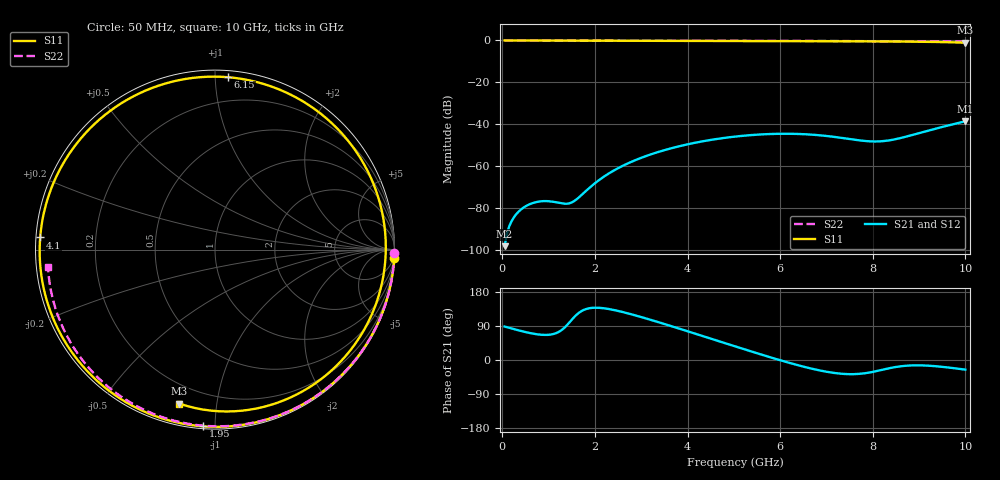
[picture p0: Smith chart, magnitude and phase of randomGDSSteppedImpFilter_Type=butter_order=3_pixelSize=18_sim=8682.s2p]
! freq	dB(S11)	phase(S11)	dB(S12)	phase(S12)
!  dB(S21)	phase(S21)	dB(S22)	phase(S22)
!S-par simulation data
#  GHz  S  DB  R 50
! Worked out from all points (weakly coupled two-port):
!   200 points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, 50 MHz to 10 GHz, reference 50 ohm
!   highest |S21| = -38.52 dB at 10 GHz (marker M1); lowest = -98.0 dB at 50 MHz (marker M2)
!   lowest |S11| = -1.1 dB at 10 GHz (marker M3), VSWR 15.76, Z = 5.17 - j39.5 ohm
!   |S11| at or under -10 dB: nowhere
!   |S22| runs from -0.6 to 0.0 dB; largest |S21 - S12| = 0
!   S11 on the Smith chart (normalised r, x): 50 MHz: 0, -45; 1.95 GHz: 0.01, -0.93; 4.1 GHz: 0.01, +0.03; 6.15 GHz: 0.04, +1.08; 10 GHz: 0.10, -0.79
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0.05  -0.00 -2.6  -98.02 88.3  -98.02 88.3  -0.00 -1.0
0.4  -0.03 -20.2  -80.61 76.7  -80.61 76.7  -0.01 -7.8
0.95  -0.06 -47.4  -76.54 66.2  -76.54 66.2  -0.02 -18.4
1.45  -0.09 -71.2  -77.59 99.2  -77.59 99.2  -0.03 -28.0
1.75  -0.10 -85.0  -72.86 131.6  -72.86 131.6  -0.04 -33.7
1.95  -0.11 -94.0  -68.94 137.7  -68.94 137.7  -0.05 -37.4
2.6  -0.14 -122.1  -59.74 126.6  -59.74 126.6  -0.06 -49.4
3.4  -0.17 -155.3  -52.92 98.8  -52.92 98.8  -0.08 -63.9
4.1  -0.21 176.0  -49.03 72.1  -49.03 72.1  -0.11 -76.1
4.55  -0.23 157.3  -47.22 54.6  -47.22 54.6  -0.12 -83.8
5.05  -0.26 135.8  -45.75 35.1  -45.75 35.1  -0.14 -92.2
5.65  -0.30 109.0  -44.71 12.2  -44.71 12.2  -0.17 -102.1
6.15  -0.33 85.7  -44.46 -5.9  -44.46 -5.9  -0.20 -110.2
6.7  -0.35 59.2  -44.91 -23.4  -44.91 -23.4  -0.23 -119.1
7.15  -0.37 37.2  -45.90 -33.9  -45.90 -33.9  -0.27 -126.3
7.55  -0.40 17.7  -47.12 -37.4  -47.12 -37.4  -0.30 -132.8
7.95  -0.43 -1.6  -48.08 -32.6  -48.08 -32.6  -0.34 -139.2
8.35  -0.48 -20.6  -47.62 -21.9  -47.62 -21.9  -0.38 -145.8
8.8  -0.56 -41.7  -45.36 -14.5  -45.36 -14.5  -0.43 -153.2
9.25  -0.68 -63.1  -42.65 -15.4  -42.65 -15.4  -0.48 -160.9
9.65  -0.85 -83.2  -40.38 -20.1  -40.38 -20.1  -0.53 -167.9
10  -1.10 -103.0  -38.52 -25.5  -38.52 -25.5  -0.58 -174.2
